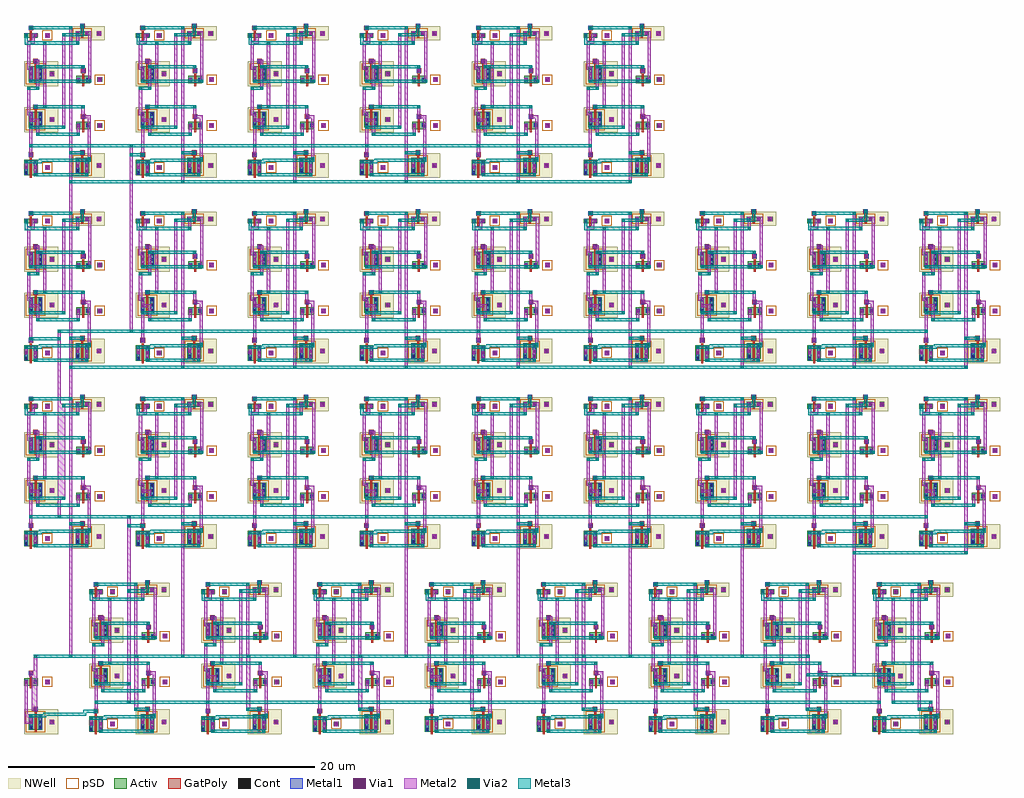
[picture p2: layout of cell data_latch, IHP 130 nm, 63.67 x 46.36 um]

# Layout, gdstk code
import gdstk
lib = gdstk.Library(unit=1e-6, precision=1e-09)
def R(c, l, rs):  # rectangles x0, y0, x1, y1
    for r in rs: c.add(gdstk.rectangle(r[:2], r[2:], *l))
def A(c, l, x, y, w, h, nx, ny, dx, dy):  # array of equal rectangles
    R(c, l, [(x+i*dx, y+j*dy, x+i*dx+w, y+j*dy+h) for i in range(nx) for j in range(ny)])
Activ = (1, 0)
GatPoly = (5, 0)
Cont = (6, 0)
Metal1 = (8, 0)
Metal2 = (10, 0)
pSD = (14, 0)
Via1 = (19, 0)
Via2 = (29, 0)
Metal3 = (30, 0)
NWell = (31, 0)

sg13_lv_pmos_w1_l0p13 = lib.new_cell('sg13_lv_pmos_w1_l0p13')
R(sg13_lv_pmos_w1_l0p13, Activ, [(0,0,0.89,1), (1.37,0.35,1.67,0.65)])
R(sg13_lv_pmos_w1_l0p13, GatPoly, [(0.38,-0.18,0.51,1.2), (0.295,1.18,0.595,1.48)])
A(sg13_lv_pmos_w1_l0p13, Cont, 0.07, 0.08, 0.16, 0.16, 1, 3, 0, 0.34)
A(sg13_lv_pmos_w1_l0p13, Cont, 0.66, 0.08, 0.16, 0.16, 1, 3, 0, 0.34)
R(sg13_lv_pmos_w1_l0p13, Cont, [(1.44,0.42,1.6,0.58), (0.365,1.25,0.525,1.41)])
R(sg13_lv_pmos_w1_l0p13, Metal1, [(0.05,0.03,0.25,0.97), (0.64,0.03,0.84,0.97), (1.375,0.355,1.665,0.645), (0.315,1.2,0.575,1.46)])
R(sg13_lv_pmos_w1_l0p13, Metal2, [(1.375,0.355,1.665,0.645)])
R(sg13_lv_pmos_w1_l0p13, pSD, [(-0.18,-0.18,1.07,1.18)])
R(sg13_lv_pmos_w1_l0p13, Via1, [(1.425,0.405,1.615,0.595)])
R(sg13_lv_pmos_w1_l0p13, NWell, [(-0.31,-0.31,1.91,1.31)])

sg13_lv_nmos_w0p5_l0p13 = lib.new_cell('sg13_lv_nmos_w0p5_l0p13')
R(sg13_lv_nmos_w0p5_l0p13, Activ, [(0,0,0.89,0.5), (1.37,0.1,1.67,0.4)])
R(sg13_lv_nmos_w0p5_l0p13, GatPoly, [(0.38,-0.18,0.51,0.7), (0.295,0.68,0.595,0.98)])
R(sg13_lv_nmos_w0p5_l0p13, Cont, [(0.07,0.17,0.23,0.33), (0.66,0.17,0.82,0.33), (1.44,0.17,1.6,0.33), (0.365,0.75,0.525,0.91)])
R(sg13_lv_nmos_w0p5_l0p13, Metal1, [(1.375,0.105,1.665,0.395), (0.05,0.12,0.25,0.38), (0.64,0.12,0.84,0.38), (0.315,0.7,0.575,0.96)])
R(sg13_lv_nmos_w0p5_l0p13, Metal2, [(1.375,0.105,1.665,0.395)])
R(sg13_lv_nmos_w0p5_l0p13, pSD, [(1.19,-0.08,1.85,0.58)])
R(sg13_lv_nmos_w0p5_l0p13, Via1, [(1.425,0.155,1.615,0.345)])

inv = lib.new_cell('inv')
R(inv, Metal1, [(0.345,0.695,0.555,0.905), (0.645,1.545,0.855,1.755), (0.045,3.295,0.255,3.505), (0.345,3.895,0.555,4.105)])
R(inv, Metal2, [(0.05,0.7,0.25,3.5), (0.05,0.7,0.55,0.9), (0.35,0.7,0.55,0.9), (0.5,1.55,0.85,1.75), (0.5,1.55,0.7,3.95), (0.65,1.55,0.85,1.75), (0.05,3.3,0.25,3.5), (0.35,3.75,0.55,4.1), (0.35,3.75,0.7,3.95), (0.35,3.9,0.55,4.1)])
R(inv, Via1, [(0.355,0.705,0.545,0.895), (0.655,1.555,0.845,1.745), (0.055,3.305,0.245,3.495), (0.355,3.905,0.545,4.095)])
inv.add(gdstk.Reference(sg13_lv_pmos_w1_l0p13, (0.31,0.31)))
inv.add(gdstk.Reference(sg13_lv_nmos_w0p5_l0p13, (0,3.17)))
inv.add(gdstk.Label('Y', (0.46,0.81), layer=8, texttype=25))
inv.add(gdstk.Label('A', (0.755,1.64), layer=8, texttype=25))
inv.add(gdstk.Label('VDD', (1.05,0.81), layer=8, texttype=25))
inv.add(gdstk.Label('VDD', (1.83,0.81), layer=8, texttype=25))
inv.add(gdstk.Label('Y', (0.15,3.42), layer=8, texttype=25))
inv.add(gdstk.Label('A', (0.445,4), layer=8, texttype=25))
inv.add(gdstk.Label('VSS', (0.74,3.42), layer=8, texttype=25))
inv.add(gdstk.Label('VSS', (1.52,3.42), layer=8, texttype=25))

sg13_lv_nmos_w1_l0p13 = lib.new_cell('sg13_lv_nmos_w1_l0p13')
R(sg13_lv_nmos_w1_l0p13, Activ, [(0,0,0.89,1), (1.37,0.35,1.67,0.65)])
R(sg13_lv_nmos_w1_l0p13, GatPoly, [(0.38,-0.18,0.51,1.2), (0.295,1.18,0.595,1.48)])
A(sg13_lv_nmos_w1_l0p13, Cont, 0.07, 0.08, 0.16, 0.16, 1, 3, 0, 0.34)
A(sg13_lv_nmos_w1_l0p13, Cont, 0.66, 0.08, 0.16, 0.16, 1, 3, 0, 0.34)
R(sg13_lv_nmos_w1_l0p13, Cont, [(1.44,0.42,1.6,0.58), (0.365,1.25,0.525,1.41)])
R(sg13_lv_nmos_w1_l0p13, Metal1, [(0.05,0.03,0.25,0.97), (0.64,0.03,0.84,0.97), (1.375,0.355,1.665,0.645), (0.315,1.2,0.575,1.46)])
R(sg13_lv_nmos_w1_l0p13, Metal2, [(1.375,0.355,1.665,0.645)])
R(sg13_lv_nmos_w1_l0p13, pSD, [(1.19,0.17,1.85,0.83)])
R(sg13_lv_nmos_w1_l0p13, Via1, [(1.425,0.405,1.615,0.595)])

sg13_lv_nmos_w0p3_l0p13 = lib.new_cell('sg13_lv_nmos_w0p3_l0p13')
R(sg13_lv_nmos_w0p3_l0p13, Activ, [(0,0,0.89,0.3), (1.37,0,1.67,0.3)])
R(sg13_lv_nmos_w0p3_l0p13, GatPoly, [(0.38,-0.18,0.51,0.5), (0.295,0.48,0.595,0.78)])
R(sg13_lv_nmos_w0p3_l0p13, Cont, [(0.07,0.07,0.23,0.23), (0.66,0.07,0.82,0.23), (1.44,0.07,1.6,0.23), (0.365,0.55,0.525,0.71)])
R(sg13_lv_nmos_w0p3_l0p13, Metal1, [(1.375,0.005,1.665,0.295), (0.05,0.02,0.25,0.28), (0.64,0.02,0.84,0.28), (0.315,0.5,0.575,0.76)])
R(sg13_lv_nmos_w0p3_l0p13, Metal2, [(1.375,0.005,1.665,0.295)])
R(sg13_lv_nmos_w0p3_l0p13, pSD, [(1.19,-0.18,1.85,0.48)])
R(sg13_lv_nmos_w0p3_l0p13, Via1, [(1.425,0.055,1.615,0.245)])

sg13_lv_pmos_w0p3_l0p13 = lib.new_cell('sg13_lv_pmos_w0p3_l0p13')
R(sg13_lv_pmos_w0p3_l0p13, Activ, [(0,0,0.89,0.3), (1.37,0,1.67,0.3)])
R(sg13_lv_pmos_w0p3_l0p13, GatPoly, [(0.38,-0.18,0.51,0.5), (0.295,0.48,0.595,0.78)])
R(sg13_lv_pmos_w0p3_l0p13, Cont, [(0.07,0.07,0.23,0.23), (0.66,0.07,0.82,0.23), (1.44,0.07,1.6,0.23), (0.365,0.55,0.525,0.71)])
R(sg13_lv_pmos_w0p3_l0p13, Metal1, [(1.375,0.005,1.665,0.295), (0.05,0.02,0.25,0.28), (0.64,0.02,0.84,0.28), (0.315,0.5,0.575,0.76)])
R(sg13_lv_pmos_w0p3_l0p13, Metal2, [(1.375,0.005,1.665,0.295)])
R(sg13_lv_pmos_w0p3_l0p13, pSD, [(-0.18,-0.18,1.07,0.48)])
R(sg13_lv_pmos_w0p3_l0p13, Via1, [(1.425,0.055,1.615,0.245)])
R(sg13_lv_pmos_w0p3_l0p13, NWell, [(-0.31,-0.31,1.91,0.61)])

dlatch = lib.new_cell('dlatch')
A(dlatch, Metal1, 0.345, 3.695, 0.21, 0.21, 1, 3, 0, 3)
R(dlatch, Metal1, [(0.045,0.595,0.255,0.805), (0.645,0.595,0.855,0.805), (3.395,0.695,3.605,0.905), (3.995,0.695,4.205,0.905), (0.345,1.395,0.555,1.605), (3.695,1.545,3.905,1.755), (3.445,3.295,3.655,3.505), (3.745,3.895,3.955,4.105), (0.645,4.545,0.855,4.755), (3.445,6.295,3.655,6.505), (3.745,6.895,3.955,7.105), (0.645,7.495,0.855,7.705), (0.045,9.195,0.255,9.405), (0.645,9.195,0.855,9.405), (3.395,9.345,3.605,9.555), (3.995,9.345,4.205,9.555), (3.695,9.795,3.905,10.005)])
R(dlatch, Metal2, [(0.65,0.1,0.85,0.3), (0.65,0.1,0.85,0.8), (4,0.1,4.2,0.3), (4,0.1,4.2,0.9), (0.05,0.6,0.25,0.8), (0.05,0.6,0.25,1.15), (0.65,0.6,0.85,0.8), (3.4,0.7,3.6,0.9), (3.4,0.7,3.6,1.25), (4,0.7,4.2,0.9), (0.05,0.95,0.25,1.15), (3.4,1.05,3.6,1.25), (4.15,1.15,4.35,1.35), (4.15,1.15,4.35,4.1), (0.35,1.4,0.55,1.6), (0.35,1.4,0.55,3.4), (2.95,1.55,3.15,1.75), (2.95,1.55,3.15,9.9), (3.7,1.55,3.9,1.75), (3.7,1.55,3.9,1.75), (0.8,2.75,1,2.95), (0.8,2.75,1,3.85), (3.45,2.75,3.65,2.95), (3.45,2.75,3.65,3.5), (0.35,3.2,0.55,3.4), (2.5,3.2,2.7,3.4), (2.5,3.2,2.7,9.45), (3.45,3.3,3.65,3.5), (0.35,3.65,0.55,3.9), (0.35,3.65,1,3.85), (0.35,3.7,0.55,3.9), (0.35,3.7,0.55,4.3), (3.75,3.9,3.95,4.1), (3.75,3.9,4.35,4.1), (3.75,3.9,3.95,4.75), (0.2,4.1,0.55,4.3), (0.2,4.1,0.4,5.95), (0.65,4.55,0.85,4.75), (0.65,4.55,0.85,4.75), (1.25,4.55,1.45,4.75), (1.25,4.55,1.45,8.9), (3.75,4.55,3.95,4.75), (0.2,5.75,0.4,5.95), (0.8,5.75,1,5.95), (0.8,5.75,1,7.7), (0.35,6.2,0.55,6.4), (0.35,6.2,0.55,6.9), (3.45,6.2,3.65,6.4), (3.45,6.2,3.65,6.5), (4.2,6.2,4.4,6.4), (4.2,6.2,4.4,9.55), (3.45,6.3,3.65,6.5), (0.35,6.7,0.55,6.9), (0.35,6.7,0.55,7.25), (3.75,6.9,3.95,7.1), (3.75,6.9,3.95,7.35), (0.2,7.05,0.55,7.25), (0.2,7.05,0.4,8.95), (0.8,7.15,1,7.35), (3.75,7.15,3.95,7.35), (0.65,7.5,0.85,7.7), (0.65,7.5,1,7.7), (1.25,8.7,1.45,8.9), (3.4,8.7,3.6,8.9), (3.4,8.7,3.6,9.55), (0.2,8.75,0.7,8.95), (0.5,8.75,0.7,9.4), (0.05,9.2,0.25,9.4), (0.05,9.2,0.25,9.4), (0.5,9.2,0.85,9.4), (0.65,9.2,0.85,9.4), (2.5,9.25,2.7,9.45), (3.4,9.35,3.6,9.55), (4,9.35,4.2,9.55), (4,9.35,4.4,9.55), (0.35,9.7,0.55,9.9), (0.35,9.7,0.55,9.9), (2.95,9.7,3.15,9.9), (3.7,9.8,3.9,10), (3.7,9.8,3.9,10)])
A(dlatch, Via1, 0.355, 3.705, 0.19, 0.19, 1, 3, 0, 3)
R(dlatch, Via1, [(0.055,0.605,0.245,0.795), (0.655,0.605,0.845,0.795), (3.405,0.705,3.595,0.895), (4.005,0.705,4.195,0.895), (0.355,1.405,0.545,1.595), (3.705,1.555,3.895,1.745), (3.455,3.305,3.645,3.495), (3.755,3.905,3.945,4.095), (0.655,4.555,0.845,4.745), (3.455,6.305,3.645,6.495), (3.755,6.905,3.945,7.095), (0.655,7.505,0.845,7.695), (0.055,9.205,0.245,9.395), (0.655,9.205,0.845,9.395), (3.405,9.355,3.595,9.545), (4.005,9.355,4.195,9.545), (3.705,9.805,3.895,9.995)])
R(dlatch, Via2, [(0.655,0.105,0.845,0.295), (4.005,0.105,4.195,0.295), (0.055,0.955,0.245,1.145), (3.405,1.055,3.595,1.245), (4.155,1.155,4.345,1.345), (2.955,1.555,3.145,1.745), (3.705,1.555,3.895,1.745), (0.805,2.755,0.995,2.945), (3.455,2.755,3.645,2.945), (0.355,3.205,0.545,3.395), (2.505,3.205,2.695,3.395), (0.655,4.555,0.845,4.745), (1.255,4.555,1.445,4.745), (3.755,4.555,3.945,4.745), (0.205,5.755,0.395,5.945), (0.805,5.755,0.995,5.945), (0.355,6.205,0.545,6.395), (3.455,6.205,3.645,6.395), (4.205,6.205,4.395,6.395), (0.805,7.155,0.995,7.345), (3.755,7.155,3.945,7.345), (1.255,8.705,1.445,8.895), (3.405,8.705,3.595,8.895), (0.055,9.205,0.245,9.395), (2.505,9.255,2.695,9.445), (0.355,9.705,0.545,9.895), (2.955,9.705,3.145,9.895), (3.705,9.805,3.895,9.995)])
R(dlatch, Metal3, [(0.65,0.1,0.85,0.3), (0.65,0.1,4.2,0.3), (4,0.1,4.2,0.3), (0.05,0.95,0.25,1.15), (0.05,0.95,1.15,1.15), (0.95,0.95,1.15,1.25), (0.95,1.05,3.6,1.25), (3.4,1.05,3.6,1.25), (3.4,1.05,4.35,1.25), (4.15,1.05,4.35,1.35), (4.15,1.15,4.35,1.35), (2.95,1.55,3.15,1.75), (2.95,1.55,3.9,1.75), (3.7,1.55,3.9,1.75), (0.8,2.75,1,2.95), (0.8,2.75,3.65,2.95), (3.45,2.75,3.65,2.95), (0.35,3.2,0.55,3.4), (0.35,3.2,2.7,3.4), (2.5,3.2,2.7,3.4), (0.65,4.55,0.85,4.75), (0.65,4.55,3.95,4.75), (1.25,4.55,1.45,4.75), (3.75,4.55,3.95,4.75), (0.2,5.75,0.4,5.95), (0.2,5.75,1,5.95), (0.8,5.75,1,5.95), (0.35,6.2,0.55,6.4), (0.35,6.2,3.65,6.4), (3.45,6.2,3.65,6.4), (3.45,6.2,4.4,6.4), (4.2,6.2,4.4,6.4), (0.8,7.15,1,7.35), (0.8,7.15,3.95,7.35), (3.75,7.15,3.95,7.35), (0.05,8.7,1.45,8.9), (0.05,8.7,0.25,9.4), (1.25,8.7,1.45,8.9), (1.25,8.7,3.6,8.9), (3.4,8.7,3.6,8.9), (0.05,9.2,0.25,9.4), (2.5,9.25,2.7,9.45), (2.5,9.25,3.9,9.45), (3.7,9.25,3.9,10), (0.35,9.7,0.55,9.9), (0.35,9.7,3.15,9.9), (2.95,9.7,3.15,9.9), (3.7,9.8,3.9,10)])
dlatch.add(gdstk.Reference(sg13_lv_nmos_w1_l0p13, (0,0.18)))
dlatch.add(gdstk.Reference(sg13_lv_pmos_w1_l0p13, (3.36,0.31)))
dlatch.add(gdstk.Reference(sg13_lv_pmos_w1_l0p13, (0.31,3.3)))
dlatch.add(gdstk.Reference(sg13_lv_nmos_w0p5_l0p13, (3.42,3.17)))
dlatch.add(gdstk.Reference(sg13_lv_pmos_w1_l0p13, (0.31,6.29)))
dlatch.add(gdstk.Reference(sg13_lv_nmos_w0p5_l0p13, (3.42,6.16)))
dlatch.add(gdstk.Reference(sg13_lv_nmos_w0p3_l0p13, (0,9.15)))
dlatch.add(gdstk.Reference(sg13_lv_pmos_w0p3_l0p13, (3.36,9.28)))
dlatch.add(gdstk.Label('N1', (0.15,0.68), layer=8, texttype=25))
dlatch.add(gdstk.Label('EN', (0.445,1.51), layer=8, texttype=25))
dlatch.add(gdstk.Label('D', (0.74,0.68), layer=8, texttype=25))
dlatch.add(gdstk.Label('VSS', (1.52,0.68), layer=8, texttype=25))
dlatch.add(gdstk.Label('N1', (3.51,0.81), layer=8, texttype=25))
dlatch.add(gdstk.Label('ENB', (3.805,1.64), layer=8, texttype=25))
dlatch.add(gdstk.Label('D', (4.1,0.81), layer=8, texttype=25))
dlatch.add(gdstk.Label('VDD', (4.88,0.81), layer=8, texttype=25))
dlatch.add(gdstk.Label('QB', (0.46,3.8), layer=8, texttype=25))
dlatch.add(gdstk.Label('N1', (0.755,4.63), layer=8, texttype=25))
dlatch.add(gdstk.Label('VDD', (1.05,3.8), layer=8, texttype=25))
dlatch.add(gdstk.Label('VDD', (1.83,3.8), layer=8, texttype=25))
dlatch.add(gdstk.Label('QB', (3.57,3.42), layer=8, texttype=25))
dlatch.add(gdstk.Label('N1', (3.865,4), layer=8, texttype=25))
dlatch.add(gdstk.Label('VSS', (4.16,3.42), layer=8, texttype=25))
dlatch.add(gdstk.Label('VSS', (4.94,3.42), layer=8, texttype=25))
dlatch.add(gdstk.Label('Q', (0.46,6.79), layer=8, texttype=25))
dlatch.add(gdstk.Label('QB', (0.755,7.62), layer=8, texttype=25))
dlatch.add(gdstk.Label('VDD', (1.05,6.79), layer=8, texttype=25))
dlatch.add(gdstk.Label('VDD', (1.83,6.79), layer=8, texttype=25))
dlatch.add(gdstk.Label('Q', (3.57,6.41), layer=8, texttype=25))
dlatch.add(gdstk.Label('QB', (3.865,6.99), layer=8, texttype=25))
dlatch.add(gdstk.Label('VSS', (4.16,6.41), layer=8, texttype=25))
dlatch.add(gdstk.Label('VSS', (4.94,6.41), layer=8, texttype=25))
dlatch.add(gdstk.Label('N1', (0.15,9.3), layer=8, texttype=25))
dlatch.add(gdstk.Label('ENB', (0.445,9.78), layer=8, texttype=25))
dlatch.add(gdstk.Label('Q', (0.74,9.3), layer=8, texttype=25))
dlatch.add(gdstk.Label('VSS', (1.52,9.3), layer=8, texttype=25))
dlatch.add(gdstk.Label('N1', (3.51,9.43), layer=8, texttype=25))
dlatch.add(gdstk.Label('EN', (3.805,9.91), layer=8, texttype=25))
dlatch.add(gdstk.Label('Q', (4.1,9.43), layer=8, texttype=25))
dlatch.add(gdstk.Label('VDD', (4.88,9.43), layer=8, texttype=25))

data_latch = lib.new_cell('data_latch')
A(data_latch, Metal2, 4.6, 1.4, 0.2, 0.8, 8, 1, 7.3, 0)
A(data_latch, Metal2, 7.25, 1.55, 0.2, 3.65, 7, 1, 7.3, 0)
A(data_latch, Metal2, 7.25, 1.55, 0.9, 0.2, 7, 1, 7.3, 0)
A(data_latch, Metal2, 11.9, 2, 0.2, 0.2, 7, 1, 7.3, 0)
A(data_latch, Metal2, 2.95, 5, 0.2, 8.85, 7, 1, 7.3, 0)
A(data_latch, Metal2, 14.95, 13.5, 0.2, 0.8, 7, 1, 7.3, 0)
A(data_latch, Metal2, 2.95, 13.65, 0.95, 0.2, 9, 2, 7.3, 12.1)
A(data_latch, Metal2, 14.95, 14.1, 0.2, 0.2, 7, 1, 7.3, 0)
A(data_latch, Metal2, 2.95, 23.85, 0.2, 0.2, 9, 1, 7.3, 0)
A(data_latch, Metal2, 10.25, 23.85, 0.2, 2.1, 8, 1, 7.3, 0)
A(data_latch, Metal2, 7.65, 25.6, 0.2, 0.8, 8, 1, 7.3, 0)
A(data_latch, Metal2, 7.65, 26.2, 0.2, 0.2, 8, 1, 7.3, 0)
A(data_latch, Metal2, 2.95, 35.95, 0.2, 0.2, 6, 1, 7.3, 0)
A(data_latch, Metal2, 10.25, 35.95, 0.2, 2.1, 5, 1, 7.3, 0)
A(data_latch, Metal2, 14.95, 37.7, 0.2, 0.8, 4, 1, 7.3, 0)
A(data_latch, Metal2, 2.95, 37.85, 0.95, 0.2, 6, 1, 7.3, 0)
A(data_latch, Metal2, 14.95, 38.3, 0.2, 0.2, 4, 1, 7.3, 0)
R(data_latch, Metal2, [(0.35,0.7,0.55,1.3), (0.25,0.9,0.35,1.3), (0.35,1.1,0.55,1.3), (4.6,1.4,4.8,1.6), (0.65,1.55,0.85,5.2), (59.05,1.55,59.25,2.2), (4.6,2,4.8,2.2), (6.75,2,6.95,2.2), (6.75,2,6.95,13.7), (56.6,2,56.8,2.2), (56.6,2,56.8,4), (59.05,2,59.25,2.2), (51.05,3.8,51.25,4), (54.05,3.8,54.25,4), (54.05,3.8,54.25,13.85), (56.6,3.8,56.8,4), (0.55,3.95,0.65,4.1), (0.65,5,0.85,5.2), (2.95,5,3.15,5.2), (7.25,5,7.45,5.2), (10.25,5,10.45,5.2), (14.55,5,14.75,5.2), (17.55,5,17.75,5.2), (21.85,5,22.05,5.2), (24.85,5,25.05,5.2), (29.15,5,29.35,5.2), (32.15,5,32.35,5.2), (36.45,5,36.65,5.2), (39.45,5,39.65,5.2), (43.75,5,43.95,5.2), (46.75,5,46.95,5.2), (51.05,5,51.25,5.2), (54.05,11.75,54.25,11.95), (61.35,11.75,61.55,13.85), (61.35,11.75,61.55,11.95), (0.35,13.5,0.55,14.3), (6.75,13.5,6.95,13.7), (6.75,13.5,6.95,14.3), (7.65,13.5,7.85,13.7), (2.95,13.65,3.15,25.95), (0.35,14.1,0.55,14.3), (2.2,14.1,2.4,25.9), (2.2,14.1,2.4,14.3), (6.75,14.1,6.95,14.3), (2.4,15.3,2.5,21.55), (0.35,25.6,0.55,25.9), (0.35,25.7,0.55,25.9), (2.2,25.7,2.4,25.9), (2.2,25.7,2.4,26.4), (2.95,25.75,3.15,38.05), (2.2,26.2,2.4,26.4), (6.9,26.2,7.1,26.4), (6.9,26.2,7.1,37.9), (0.35,37.7,0.55,38.5), (6.9,37.7,7.1,37.9), (6.9,37.7,7.1,38.5), (7.65,37.7,7.85,37.9), (0.35,38.3,0.55,38.5), (6.9,38.3,7.1,38.5)])
A(data_latch, Via2, 11.905, 2.005, 0.19, 0.19, 7, 1, 7.3, 0)
A(data_latch, Via2, 14.955, 14.105, 0.19, 0.19, 7, 1, 7.3, 0)
A(data_latch, Via2, 2.955, 23.855, 0.19, 0.19, 9, 1, 7.3, 0)
A(data_latch, Via2, 7.655, 26.205, 0.19, 0.19, 8, 1, 7.3, 0)
A(data_latch, Via2, 2.955, 35.955, 0.19, 0.19, 6, 1, 7.3, 0)
A(data_latch, Via2, 14.955, 38.305, 0.19, 0.19, 4, 1, 7.3, 0)
R(data_latch, Via2, [(0.355,1.105,0.545,1.295), (4.605,1.405,4.795,1.595), (4.605,2.005,4.795,2.195), (6.755,2.005,6.945,2.195), (56.605,2.005,56.795,2.195), (59.055,2.005,59.245,2.195), (51.055,3.805,51.245,3.995), (54.055,3.805,54.245,3.995), (56.605,3.805,56.795,3.995), (0.655,5.005,0.845,5.195), (2.955,5.005,3.145,5.195), (7.255,5.005,7.445,5.195), (10.255,5.005,10.445,5.195), (14.555,5.005,14.745,5.195), (17.555,5.005,17.745,5.195), (21.855,5.005,22.045,5.195), (24.855,5.005,25.045,5.195), (29.155,5.005,29.345,5.195), (32.155,5.005,32.345,5.195), (36.455,5.005,36.645,5.195), (39.455,5.005,39.645,5.195), (43.755,5.005,43.945,5.195), (46.755,5.005,46.945,5.195), (51.055,5.005,51.245,5.195), (54.055,11.755,54.245,11.945), (61.355,11.755,61.545,11.945), (6.755,13.505,6.945,13.695), (7.655,13.505,7.845,13.695), (0.355,14.105,0.545,14.295), (2.205,14.105,2.395,14.295), (6.755,14.105,6.945,14.295), (0.355,25.705,0.545,25.895), (2.205,25.705,2.395,25.895), (2.205,26.205,2.395,26.395), (6.905,26.205,7.095,26.395), (6.905,37.705,7.095,37.895), (7.655,37.705,7.845,37.895), (0.355,38.305,0.545,38.495), (6.905,38.305,7.095,38.495)])
A(data_latch, Metal3, 4.6, 2, 7.5, 0.2, 7, 1, 7.3, 0)
A(data_latch, Metal3, 11.9, 2, 0.2, 0.2, 7, 1, 7.3, 0)
A(data_latch, Metal3, 7.25, 5, 7.5, 0.2, 6, 1, 7.3, 0)
A(data_latch, Metal3, 14.95, 14.1, 7.5, 0.2, 6, 1, 7.3, 0)
A(data_latch, Metal3, 14.95, 14.1, 0.2, 0.2, 7, 1, 7.3, 0)
A(data_latch, Metal3, 2.95, 23.85, 7.5, 0.2, 8, 1, 7.3, 0)
A(data_latch, Metal3, 2.95, 23.85, 0.2, 0.2, 9, 1, 7.3, 0)
A(data_latch, Metal3, 7.65, 26.2, 7.5, 0.2, 7, 1, 7.3, 0)
A(data_latch, Metal3, 7.65, 26.2, 0.2, 0.2, 8, 1, 7.3, 0)
A(data_latch, Metal3, 2.95, 35.95, 7.5, 0.2, 5, 1, 7.3, 0)
A(data_latch, Metal3, 2.95, 35.95, 0.2, 0.2, 6, 1, 7.3, 0)
A(data_latch, Metal3, 14.95, 38.3, 7.5, 0.2, 3, 1, 7.3, 0)
A(data_latch, Metal3, 14.95, 38.3, 0.2, 0.2, 4, 1, 7.3, 0)
R(data_latch, Metal3, [(0.35,1.1,0.55,1.3), (0.35,1.1,1.45,1.3), (1.25,1.1,1.45,1.4), (1.25,1.2,4.05,1.4), (3.85,1.2,4.05,1.6), (3.85,1.4,4.8,1.6), (4.6,1.4,4.8,1.6), (4.6,2,4.8,2.2), (6.75,2,6.95,2.2), (56.6,2,56.8,2.2), (56.6,2,59.25,2.2), (59.05,2,59.25,2.2), (51.05,3.8,51.25,4), (51.05,3.8,56.8,4), (54.05,3.8,54.25,4), (56.6,3.8,56.8,4), (0.65,5,0.85,5.2), (0.65,5,7.45,5.2), (2.95,5,3.15,5.2), (7.25,5,7.45,5.2), (10.25,5,10.45,5.2), (14.55,5,14.75,5.2), (17.55,5,17.75,5.2), (21.85,5,22.05,5.2), (24.85,5,25.05,5.2), (29.15,5,29.35,5.2), (32.15,5,32.35,5.2), (36.45,5,36.65,5.2), (39.45,5,39.65,5.2), (43.75,5,43.95,5.2), (46.75,5,46.95,5.2), (51.05,5,51.25,5.2), (54.05,11.75,61.55,11.95), (54.05,11.75,54.25,11.95), (61.35,11.75,61.55,11.95), (6.75,13.5,6.95,13.7), (6.75,13.5,7.85,13.7), (7.65,13.5,7.85,13.7), (0.35,14.1,0.55,14.3), (0.35,14.1,6.95,14.3), (2.2,14.1,2.4,14.3), (6.75,14.1,6.95,14.3), (6.75,14.1,15.15,14.3), (0.35,25.7,0.55,25.9), (0.35,25.7,2.4,25.9), (2.2,25.7,2.4,25.9), (2.2,26.2,2.4,26.4), (2.2,26.2,7.85,26.4), (6.9,26.2,7.1,26.4), (6.9,37.7,7.1,37.9), (6.9,37.7,7.85,37.9), (7.65,37.7,7.85,37.9), (0.35,38.3,0.55,38.5), (0.35,38.3,7.1,38.5), (6.9,38.3,7.1,38.5), (6.9,38.3,15.15,38.5)])
data_latch.add(gdstk.Reference(inv, (0,0)))
data_latch.add(gdstk.Reference(dlatch, (4.25,0)))
data_latch.add(gdstk.Reference(dlatch, (11.55,0)))
data_latch.add(gdstk.Reference(dlatch, (18.85,0)))
data_latch.add(gdstk.Reference(dlatch, (26.15,0)))
data_latch.add(gdstk.Reference(dlatch, (33.45,0)))
data_latch.add(gdstk.Reference(dlatch, (40.75,0)))
data_latch.add(gdstk.Reference(dlatch, (48.05,0)))
data_latch.add(gdstk.Reference(dlatch, (55.35,0)))
data_latch.add(gdstk.Reference(dlatch, (0,12.1)))
data_latch.add(gdstk.Reference(dlatch, (7.3,12.1)))
data_latch.add(gdstk.Reference(dlatch, (14.6,12.1)))
data_latch.add(gdstk.Reference(dlatch, (21.9,12.1)))
data_latch.add(gdstk.Reference(dlatch, (29.2,12.1)))
data_latch.add(gdstk.Reference(dlatch, (36.5,12.1)))
data_latch.add(gdstk.Reference(dlatch, (43.8,12.1)))
data_latch.add(gdstk.Reference(dlatch, (51.1,12.1)))
data_latch.add(gdstk.Reference(dlatch, (58.4,12.1)))
data_latch.add(gdstk.Reference(dlatch, (0,24.2)))
data_latch.add(gdstk.Reference(dlatch, (7.3,24.2)))
data_latch.add(gdstk.Reference(dlatch, (14.6,24.2)))
data_latch.add(gdstk.Reference(dlatch, (21.9,24.2)))
data_latch.add(gdstk.Reference(dlatch, (29.2,24.2)))
data_latch.add(gdstk.Reference(dlatch, (36.5,24.2)))
data_latch.add(gdstk.Reference(dlatch, (43.8,24.2)))
data_latch.add(gdstk.Reference(dlatch, (51.1,24.2)))
data_latch.add(gdstk.Reference(dlatch, (58.4,24.2)))
data_latch.add(gdstk.Reference(dlatch, (0,36.3)))
data_latch.add(gdstk.Reference(dlatch, (7.3,36.3)))
data_latch.add(gdstk.Reference(dlatch, (14.6,36.3)))
data_latch.add(gdstk.Reference(dlatch, (21.9,36.3)))
data_latch.add(gdstk.Reference(dlatch, (29.2,36.3)))
data_latch.add(gdstk.Reference(dlatch, (36.5,36.3)))

lib.write_gds('data_latch.gds')
